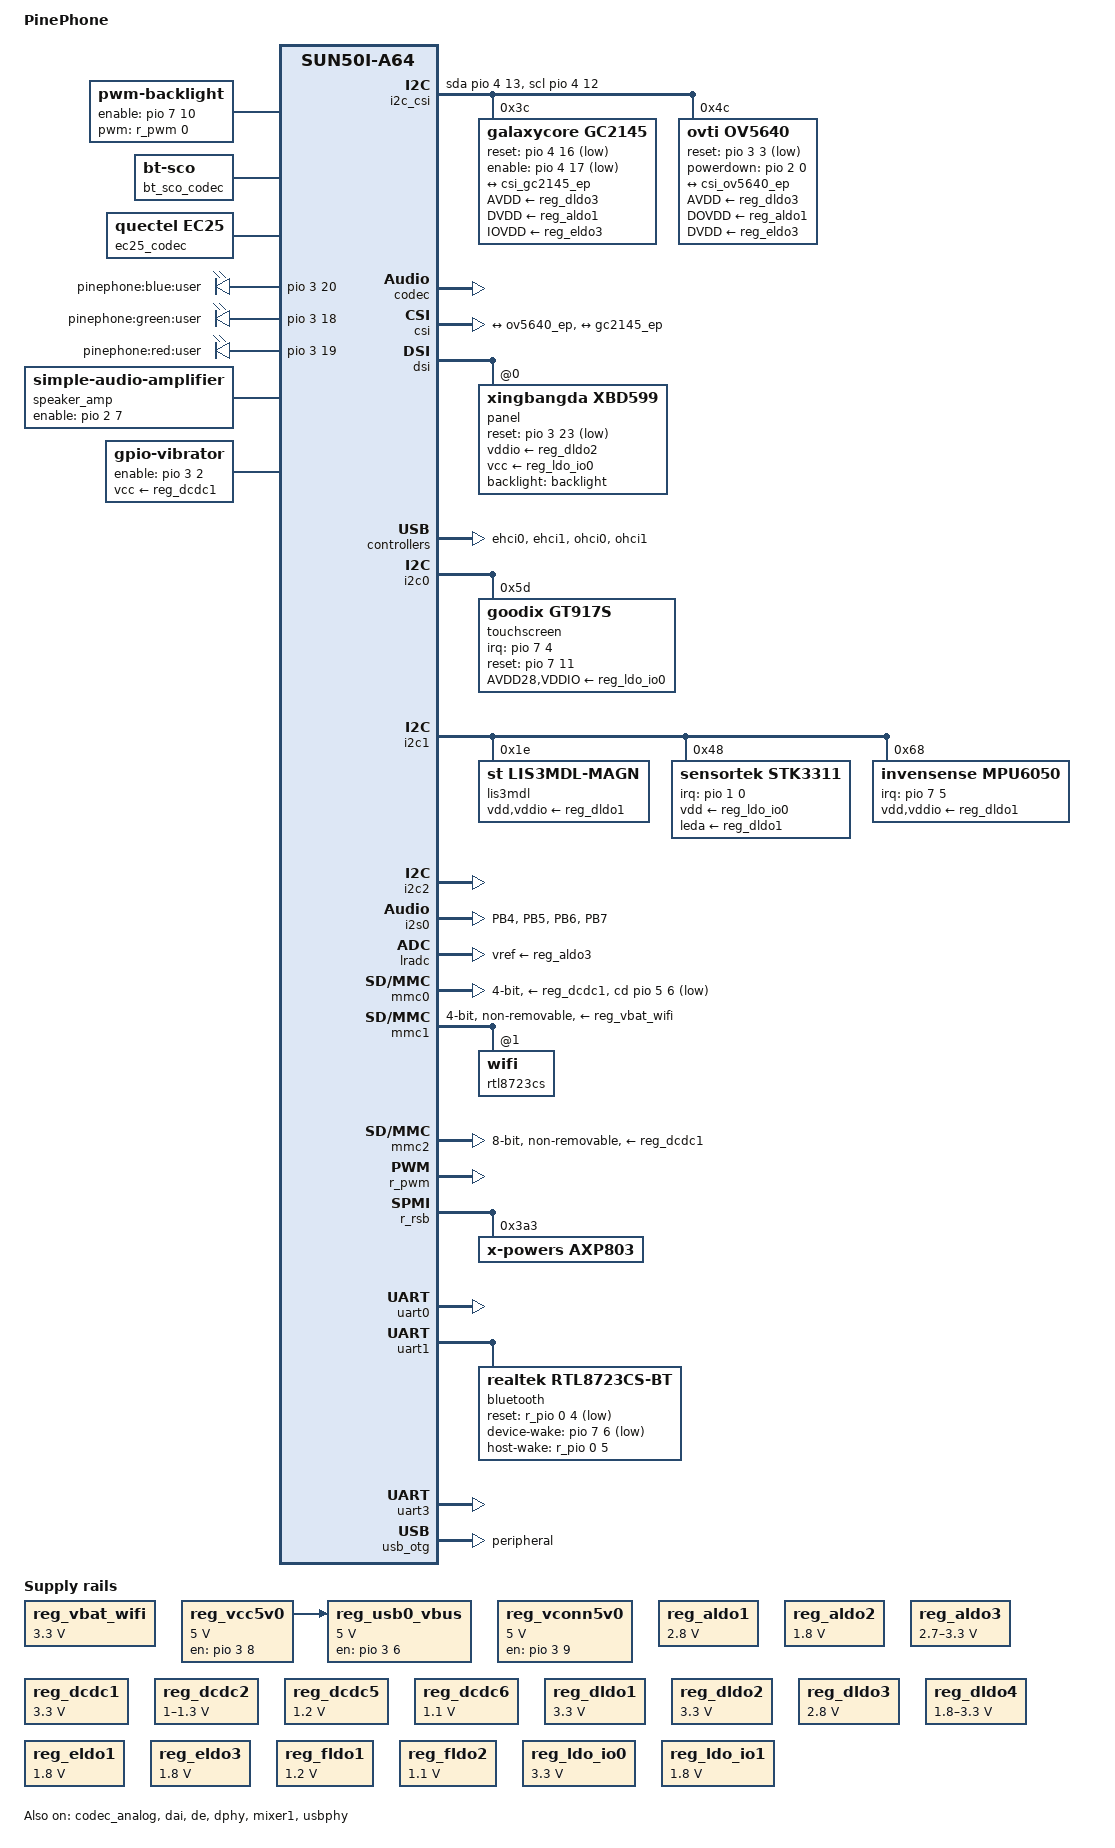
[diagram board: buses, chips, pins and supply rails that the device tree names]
// SPDX-License-Identifier: (GPL-2.0+ OR MIT)
/*
 * Copyright (C) 2019 Icenowy Zheng <icenowy@aosc.xyz>
 *
 */

/dts-v1/;

#include "sun50i-a64.dtsi"
#include "sun50i-a64-cpu-opp.dtsi"

#include <dt-bindings/gpio/gpio.h>
#include <dt-bindings/input/input.h>
#include <dt-bindings/pwm/pwm.h>

/ {
	model = "PinePhone";
	compatible = "pine64,pinephone", "allwinner,sun50i-a64";

	aliases {
		serial0 = &uart0;
		ethernet0 = &rtl8723cs;
	};

	backlight: backlight {
		compatible = "pwm-backlight";
		pwms = <&r_pwm 0 50000 PWM_POLARITY_INVERTED>;
		brightness-levels = <0 10 20 30 40 50 60 70 80 90 100>;
		default-brightness-level = <8>;
		enable-gpios = <&pio 7 10 GPIO_ACTIVE_HIGH>; /* PH10 */
	};

	bt_sco_codec: bt-sco-codec {
		#sound-dai-cells = <1>;
		compatible = "linux,bt-sco";
		sound-name-prefix = "Bluetooth";
	};

	chosen {
		stdout-path = "serial0:115200n8";
	};

	ec25_codec: ec25-codec {
		#sound-dai-cells = <0>;
		compatible = "quectel,ec25";
		sound-name-prefix = "Baseband";
	};

	i2c_csi: i2c-csi {
		compatible = "i2c-gpio";
		sda-gpios = <&pio 4 13 (GPIO_ACTIVE_HIGH | GPIO_OPEN_DRAIN)>; /* PE13 */
		scl-gpios = <&pio 4 12 (GPIO_ACTIVE_HIGH | GPIO_OPEN_DRAIN)>; /* PE12 */
		i2c-gpio,delay-us = <3>;
		#address-cells = <1>;
		#size-cells = <0>;
	};

	leds {
		compatible = "gpio-leds";

		blue {
			label = "pinephone:blue:user";
			gpios = <&pio 3 20 GPIO_ACTIVE_HIGH>; /* PD20 */
		};

		green {
			label = "pinephone:green:user";
			gpios = <&pio 3 18 GPIO_ACTIVE_HIGH>; /* PD18 */
		};

		red {
			label = "pinephone:red:user";
			gpios = <&pio 3 19 GPIO_ACTIVE_HIGH>; /* PD19 */
		};
	};

	reg_usb0_vbus: usb0-vbus {
		compatible = "regulator-fixed";
		regulator-name = "usb0-vbus";
		regulator-min-microvolt = <5000000>;
		regulator-max-microvolt = <5000000>;
		gpio = <&pio 3 6 GPIO_ACTIVE_HIGH>; /* PD6 */
		enable-active-high;
		vin-supply = <&reg_vcc5v0>;
	};

// I don't want this managed by the kernel yet
#if 0
	reg_vbat_bb: vbat-bb {
		compatible = "regulator-fixed";
		regulator-name = "vbat-bb";
		regulator-min-microvolt = <3500000>;
		regulator-max-microvolt = <3500000>;
		gpio = <&r_pio 0 7 GPIO_ACTIVE_HIGH>; /* PL7 */
		enable-active-high;
	};
#endif

	reg_vbat_wifi: vbat-wifi {
		compatible = "regulator-fixed";
		regulator-min-microvolt = <3300000>;
		regulator-max-microvolt = <3300000>;
		regulator-name = "vbat-wifi";
	};

	reg_vcc5v0: vcc5v0 {
		compatible = "regulator-fixed";
		regulator-name = "vcc5v0";
		regulator-min-microvolt = <5000000>;
		regulator-max-microvolt = <5000000>;
		gpio = <&pio 3 8 GPIO_ACTIVE_HIGH>; /* PD8 */
		enable-active-high;
	};

	reg_vconn5v0: vconn5v0 {
		compatible = "regulator-fixed";
		regulator-name = "vconn5v0";
		regulator-min-microvolt = <5000000>;
		regulator-max-microvolt = <5000000>;
		gpio = <&pio 3 9 GPIO_ACTIVE_HIGH>; /* PD9 */
		enable-active-high;
	};

	speaker_amp: audio-amplifier {
		compatible = "simple-audio-amplifier";
		enable-gpios = <&pio 2 7 GPIO_ACTIVE_HIGH>; /* PC7 */
		sound-name-prefix = "Speaker Amp";
	};

	sound-modem {
		compatible = "simple-audio-card";
		simple-audio-card,name = "EC25 audio";
		simple-audio-card,format = "dsp_a";
		simple-audio-card,mclk-fs = <256>;
		simple-audio-card,bitclock-master = <&dailink0_master>;
		simple-audio-card,frame-master = <&dailink0_master>;

		simple-audio-card,cpu {
			sound-dai = <&i2s0>;
			dai-tdm-slot-num = <2>;
			dai-tdm-slot-width = <16>;
		};

		dailink0_master: simple-audio-card,codec {
			sound-dai = <&ec25_codec>;
		};
	};

	vibrator {
		compatible = "gpio-vibrator";
		enable-gpios = <&pio 3 2 GPIO_ACTIVE_HIGH>; /* PD2 */
		vcc-supply = <&reg_dcdc1>;
	};
};

&codec {
	status = "okay";
};

&codec_analog {
	cpvdd-supply = <&reg_eldo1>;
	status = "okay";
};

&cpu0 {
	cpu-supply = <&reg_dcdc2>;
};

&cpu1 {
	cpu-supply = <&reg_dcdc2>;
};

&cpu2 {
	cpu-supply = <&reg_dcdc2>;
};

&cpu3 {
	cpu-supply = <&reg_dcdc2>;
};

&csi {
	pinctrl-0 = <&csi_pins>, <&csi_mclk_pin>;
	status = "okay";

	port {
		#address-cells = <1>;
		#size-cells = <0>;

		csi_ov5640_ep: endpoint@0 {
			reg = <0>;
			remote-endpoint = <&ov5640_ep>;
			bus-width = <8>;
			hsync-active = <1>; /* Active high */
			vsync-active = <0>; /* Active low */
			data-active = <1>;  /* Active high */
			pclk-sample = <1>;  /* Rising */
		};

		csi_gc2145_ep: endpoint@1 {
			reg = <1>;
			remote-endpoint = <&gc2145_ep>;
			bus-width = <8>;
			hsync-active = <1>;
			vsync-active = <1>;
			data-active = <1>;
			pclk-sample = <1>;
		};
	};
};

&dai {
	status = "okay";
};

&cpu0 {
	cpu-supply = <&reg_dcdc2>;
};

&de {
	status = "okay";
};

&dphy {
	status = "okay";
};

&dsi {
	vcc-dsi-supply = <&reg_dldo1>;
	#address-cells = <1>;
	#size-cells = <0>;
	status = "okay";

	panel@0 {
		compatible = "xingbangda,xbd599";
		reg = <0>;
		/* XXX: reset is not connected to the lcd */
		reset-gpios = <&pio 3 23 GPIO_ACTIVE_LOW>; /* PD23 */
		backlight = <&backlight>;

		/* XXX: not used by the driver yet, so these are now defined as always-on! */
		vddio-supply = <&reg_dldo2>;
		vcc-supply = <&reg_ldo_io0>;
	};
};

&ehci0 {
	status = "okay";
};

&ehci1 {
	status = "okay";
};

&i2c_csi {
	gc2145: front-camera@3c {
		compatible = "galaxycore,gc2145";
		reg = <0x3c>;
		clocks = <&ccu CLK_CSI_MCLK>;
		clock-names = "xclk";

		AVDD-supply = <&reg_dldo3>;
		DVDD-supply = <&reg_aldo1>;
		IOVDD-supply = <&reg_eldo3>;
		reset-gpios = <&pio 4 16 (GPIO_ACTIVE_LOW | GPIO_OPEN_DRAIN)>; /* PE16 */
		enable-gpios = <&pio 4 17 (GPIO_ACTIVE_LOW | GPIO_OPEN_DRAIN)>; /* PE17 */

		port {
			gc2145_ep: endpoint {
				remote-endpoint = <&csi_gc2145_ep>;
				bus-width = <8>;
				hsync-active = <1>;
				vsync-active = <1>;
				data-active = <1>;
				pclk-sample = <1>;
			};
		};
	};

	ov5640: rear-camera@4c {
		compatible = "ovti,ov5640";
		reg = <0x4c>;
		clocks = <&ccu CLK_CSI_MCLK>;
		clock-names = "xclk";

		AVDD-supply = <&reg_dldo3>;
		DOVDD-supply = <&reg_aldo1>; /* shared with AFVCC */
		DVDD-supply = <&reg_eldo3>;
		reset-gpios = <&pio 3 3 (GPIO_ACTIVE_LOW | GPIO_OPEN_DRAIN)>; /* PD3 */
		powerdown-gpios = <&pio 2 0 (GPIO_ACTIVE_HIGH | GPIO_OPEN_DRAIN)>; /* PC0 */

		port {
			ov5640_ep: endpoint {
				remote-endpoint = <&csi_ov5640_ep>;
				bus-width = <8>;
				hsync-active = <1>; /* Active high */
				vsync-active = <0>; /* Active low */
				data-active = <1>;  /* Active high */
				pclk-sample = <1>;  /* Rising */
			};
		};
	};
};

&i2c0 {
	pinctrl-names = "default";
	pinctrl-0 = <&i2c0_pins>;
	status = "okay";

	touchscreen@5d {
		compatible = "goodix,gt917s", "goodix,gt911";
		reg = <0x5d>;
		interrupt-parent = <&pio>;
		interrupts = <7 4 IRQ_TYPE_LEVEL_HIGH>; /* PH4 */
		irq-gpios = <&pio 7 4 GPIO_ACTIVE_HIGH>; /* PH4 */
		reset-gpios = <&pio 7 11 GPIO_ACTIVE_HIGH>; /* PH11 */
		AVDD28-supply = <&reg_ldo_io0>;
		VDDIO-supply = <&reg_ldo_io0>;
		touchscreen-size-x = <720>;
		touchscreen-size-y = <1440>;
	};
};

&i2c1 {
	pinctrl-names = "default";
	pinctrl-0 = <&i2c1_pins>;
	status = "okay";

	/* Magnetometer */
	lis3mdl@1e {
		compatible = "st,lis3mdl-magn";
		reg = <0x1e>;
		// The driver wants DRDY on the interrupt line, not INT pin
		// therefore we can't use interrupts.
		//interrupt-parent = <&pio>;
		//interrupts = <1 1 IRQ_TYPE_EDGE_RISING>; /* PB1 */
		vdd-supply = <&reg_dldo1>;
		vddio-supply = <&reg_dldo1>;
	};

	/* Light/proximity sensor */
	stk3311@48 {
		compatible = "sensortek,stk3311";
		reg = <0x48>;
		interrupt-parent = <&pio>;
		interrupts = <1 0 IRQ_TYPE_EDGE_FALLING>; /* PB0 */
		vdd-supply = <&reg_ldo_io0>;
		leda-supply = <&reg_dldo1>;
	};

	/* Accelerometer/gyroscope */
	mpu6050@68 {
		compatible = "invensense,mpu6050";
		reg = <0x68>;
		interrupt-parent = <&pio>;
		interrupts = <7 5 IRQ_TYPE_EDGE_RISING>; /* PH5 */
		vdd-supply = <&reg_dldo1>;
		vddio-supply = <&reg_dldo1>;
	};
};

/* Connected to pogo pins */
&i2c2 {
	pinctrl-names = "default";
	pinctrl-0 = <&i2c2_pins>;
	status = "okay";
};

&i2s0 {
	pinctrl-names = "default";
	pinctrl-0 = <&i2s0_pins>;
	status = "okay";
	pinephone-channel-offset-hack;
};

&lradc {
	vref-supply = <&reg_aldo3>;
	status = "okay";

	button-200 {
		label = "Volume Up";
		linux,code = <KEY_VOLUMEUP>;
		channel = <0>;
		voltage = <200000>;
	};

	button-400 {
		label = "Volume Down";
		linux,code = <KEY_VOLUMEDOWN>;
		channel = <0>;
		voltage = <400000>;
	};
};

&mixer1 {
	status = "okay";
};

&mmc0 {
	pinctrl-names = "default";
	pinctrl-0 = <&mmc0_pins>;
	vmmc-supply = <&reg_dcdc1>;
	vqmmc-supply = <&reg_dcdc1>;
	cd-gpios = <&pio 5 6 GPIO_ACTIVE_LOW>; /* PF6 */
	disable-wp;
	bus-width = <4>;
	status = "okay";
};

&mmc1 {
	pinctrl-names = "default";
	pinctrl-0 = <&mmc1_pins>;
	vmmc-supply = <&reg_vbat_wifi>;
	vqmmc-supply = <&reg_dldo4>;
	bus-width = <4>;
	non-removable;
	status = "okay";

	rtl8723cs: wifi@1 {
		reg = <1>;
//		host-wake-gpios = <&r_pio 0 3 GPIO_ACTIVE_HIGH>; /* PL3 */
//		interrupt-parent = <&r_pio>;
//		interrupts = <0 3 IRQ_TYPE_EDGE_FALLING>; /* PL3 */
	};
};

&mmc2 {
	pinctrl-names = "default";
	pinctrl-0 = <&mmc2_pins>;
	vmmc-supply = <&reg_dcdc1>;
	vqmmc-supply = <&reg_dcdc1>;
	bus-width = <8>;
	non-removable;
	cap-mmc-hw-reset;
	status = "okay";
};

&ohci0 {
	status = "okay";
};

&ohci1 {
	status = "okay";
};

&pio {
	vcc-pb-supply = <&reg_dcdc1>;
	vcc-pc-supply = <&reg_dcdc1>;
	vcc-pd-supply = <&reg_dcdc1>;
	/* pinctrl would enable this even if no camera is powered,
	 * which is wrong/not necessary
	 *
	 * vcc-pe-supply = <&reg_aldo1>; (also used by pogo pins i2c)
	 */
	vcc-pf-supply = <&reg_dcdc1>;
	vcc-pg-supply = <&reg_dldo4>;
	vcc-ph-supply = <&reg_dcdc1>;

	i2s0_pins: i2s0-pins {
		pins = "PB4", "PB5", "PB6", "PB7";
		function = "i2s0";
	};
};

&r_pio {
	/*
	 * FIXME: We can't add that supply for now since it would
	 * create a circular dependency between pinctrl, the regulator
	 * and the RSB Bus.
	 *
	 * vcc-pl-supply = <&reg_aldo2>;
	 */
};

&r_pwm {
	status = "okay";
};

&r_rsb {
	status = "okay";

	axp803: pmic@3a3 {
		compatible = "x-powers,axp803";
		reg = <0x3a3>;
		interrupt-parent = <&r_intc>;
		interrupts = <0 IRQ_TYPE_LEVEL_LOW>;
	};
};

#include "axp803.dtsi"

&ac_power_supply {
	status = "okay";
};

&axp_adc {
	x-powers,ts-as-gpadc;
};

&battery_power_supply {
	status = "okay";
};

&reg_aldo1 {
	regulator-min-microvolt = <2800000>;
	regulator-max-microvolt = <2800000>;
	regulator-name = "dovdd-csi";
};

&reg_aldo2 {
	regulator-always-on;
	regulator-min-microvolt = <1800000>;
	regulator-max-microvolt = <1800000>;
	regulator-name = "vcc-pl";
};

&reg_aldo3 {
	regulator-always-on;
	regulator-min-microvolt = <2700000>;
	regulator-max-microvolt = <3300000>;
	regulator-name = "vcc-pll-avcc";
};

&reg_dcdc1 {
	regulator-always-on;
	regulator-min-microvolt = <3300000>;
	regulator-max-microvolt = <3300000>;
	regulator-name = "vcc-3v3";
};

&reg_dcdc2 {
	regulator-always-on;
	regulator-min-microvolt = <1000000>;
	regulator-max-microvolt = <1300000>;
	regulator-name = "vdd-cpux";
};

/* DCDC3 is polyphased with DCDC2 */

&reg_dcdc5 {
	regulator-always-on;
	regulator-min-microvolt = <1200000>;
	regulator-max-microvolt = <1200000>;
	regulator-name = "vcc-dram";
};

&reg_dcdc6 {
	regulator-always-on;
	regulator-min-microvolt = <1100000>;
	regulator-max-microvolt = <1100000>;
	regulator-name = "vdd-sys";
};

&reg_dldo1 {
	regulator-always-on;
	regulator-min-microvolt = <3300000>;
	regulator-max-microvolt = <3300000>;
	regulator-name = "vcc-dsi-sensor";
};

&reg_dldo2 {
	regulator-always-on;
	regulator-min-microvolt = <3300000>;
	regulator-max-microvolt = <3300000>;
	regulator-name = "vcc-mipi-io";
};

&reg_dldo3 {
	regulator-min-microvolt = <2800000>;
	regulator-max-microvolt = <2800000>;
	regulator-name = "avdd-csi";
};

&reg_dldo4 {
	regulator-min-microvolt = <1800000>;
	regulator-max-microvolt = <3300000>;
	regulator-name = "vcc-wifi-io";
};

&reg_eldo1 {
	regulator-always-on;
	regulator-min-microvolt = <1800000>;
	regulator-max-microvolt = <1800000>;
	regulator-name = "vcc-lpddr";
};

&reg_eldo3 {
	regulator-min-microvolt = <1800000>;
	regulator-max-microvolt = <1800000>;
	regulator-name = "dvdd-1v8-csi";
};

&reg_fldo1 {
	regulator-min-microvolt = <1200000>;
	regulator-max-microvolt = <1200000>;
	regulator-name = "vcc-1v2-hsic";
};

&reg_fldo2 {
	regulator-always-on;
	regulator-min-microvolt = <1100000>;
	regulator-max-microvolt = <1100000>;
	regulator-name = "vdd-cpus";
};

&reg_ldo_io0 {
	regulator-always-on;
	regulator-min-microvolt = <3300000>;
	regulator-max-microvolt = <3300000>;
	regulator-name = "vcc-lcd-ctp-stk";
	status = "okay";
};

&reg_ldo_io1 {
	regulator-min-microvolt = <1800000>;
	regulator-max-microvolt = <1800000>;
	regulator-name = "vcc-1v8-typec";
	status = "okay";
};

&reg_rtc_ldo {
	regulator-name = "vcc-rtc";
};

&sound {
	status = "okay";
	simple-audio-card,aux-devs = <&codec_analog>, <&speaker_amp>;
	simple-audio-card,widgets = "Microphone", "Internal Microphone Left",
				    "Microphone", "Internal Microphone Right",
				    "Headphone", "Headphone Jack",
				    "Speaker", "Internal Speaker",
				    "Speaker", "Internal Earpiece";
	simple-audio-card,routing =
			"Left DAC", "AIF1 Slot 0 Left",
			"Right DAC", "AIF1 Slot 0 Right",
			"Speaker Amp INL", "LINEOUT",
			"Speaker Amp INR", "LINEOUT",
			"Internal Speaker", "Speaker Amp OUTL",
			"Internal Speaker", "Speaker Amp OUTR",
			"Internal Earpiece", "EARPIECE",
			"Headphone Jack", "HP",
			"AIF1 Slot 0 Left ADC", "Left ADC",
			"AIF1 Slot 0 Right ADC", "Right ADC",
			"Internal Microphone Left", "MBIAS",
			"MIC1", "Internal Microphone Left",
			"Internal Microphone Right", "HBIAS",
			"MIC2", "Internal Microphone Right";
};

&uart0 {
	pinctrl-names = "default";
	pinctrl-0 = <&uart0_pb_pins>;
	status = "okay";
};

&uart1 {
	pinctrl-names = "default";
	pinctrl-0 = <&uart1_pins>, <&uart1_rts_cts_pins>;
	status = "okay";

	bluetooth {
		compatible = "realtek,rtl8723cs-bt";
		reset-gpios = <&r_pio 0 4 GPIO_ACTIVE_LOW>; /* PL4 */
		device-wake-gpios = <&pio 7 6 GPIO_ACTIVE_LOW>; /* PH6 */
		host-wake-gpios = <&r_pio 0 5 GPIO_ACTIVE_HIGH>; /* PL5 */
		firmware-postfix = "pinephone";
	};
};

/* Connected to the modem, also uses PD4-RTS and PD5-CTS */
&uart3 {
	pinctrl-names = "default";
	pinctrl-0 = <&uart3_pins>;
	status = "okay";
};

&usb_otg {
	dr_mode = "peripheral";
	status = "okay";
};

&usb_power_supply {
	status = "okay";
};

&usbphy {
	status = "okay";
};
